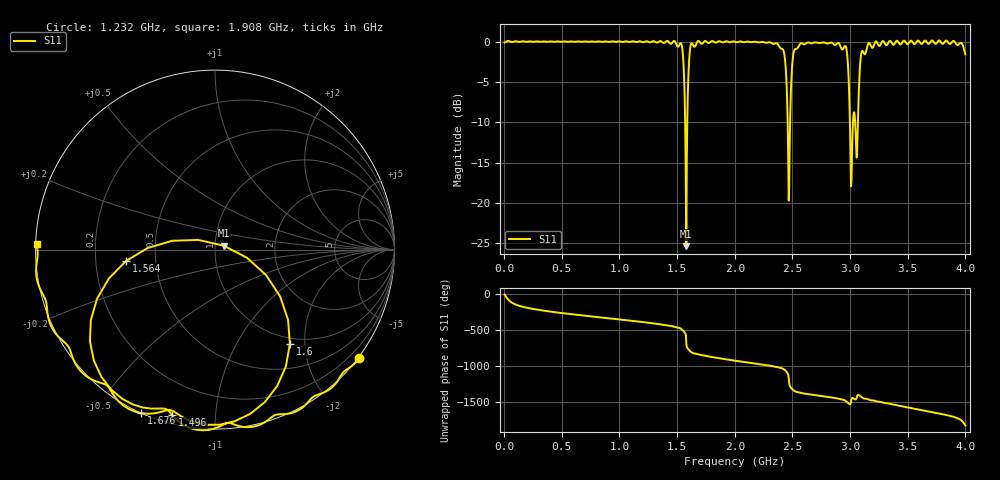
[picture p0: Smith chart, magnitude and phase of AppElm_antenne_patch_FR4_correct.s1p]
! TOUCHSTONE file generated by CST MICROWAVE STUDIO
! Date and time: Tue Jun 14 11:12:00 2022
! Project name: AppElm_antenne_patch_FR4.cst
! Parameters = {L=45; W=58.5; e=0.035; h=1.6; lambda=0.190476; ls=120; w0=2.54; w1=0.847; ws=120; y0=18; y1=23.8}
! Header version: 2018
! Port assignment regex: !\s*Touchstone port\s*([0-9]+)\s*=\s*(CST MWS port|CST DS port)\s*([0-9]+|Zmin|Zmax)\s*\(\"(.*)\"\)(\s*mode\s*([0-9]+))?.*
! Touchstone port assignment:
! Touchstone port 1 = CST MWS port 1 ("")
# GHz S MA R 50
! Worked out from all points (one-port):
!   1000 points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, 4 MHz to 4 GHz, reference 50 ohm
!   lowest |S11| = -25.4 dB at 1.58 GHz (marker M1), VSWR 1.11, Z = 55.1 + j2.38 ohm
!   |S11| at or under -10 dB: 2.459 GHz to 2.48 GHz (21.23 MHz wide, 0.86 % of centre); 2.998 GHz to 3.025 GHz (26.92 MHz wide, 0.894 % of centre); 3.044 GHz to 3.068 GHz (23.74 MHz wide, 0.777 % of centre)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
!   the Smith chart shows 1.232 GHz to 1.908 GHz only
!   S11 on the Smith chart (normalised r, x): 1.232 GHz: -0.03, -3.00; 1.496 GHz: 0.04, -0.77; 1.564 GHz: 0.33, -0.06; 1.6 GHz: 0.89, -1.71; 1.676 GHz: 0.00, -0.65; 1.908 GHz: 0.00, +0.01
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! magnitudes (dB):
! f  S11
! 4 MHz  -0.1
! 504 MHz  0.0
! 1.004 GHz  0.0
! 1.232 GHz  0.0
! 1.496 GHz  -0.4
! 1.504 GHz  -0.6
! 1.544 GHz  -0.8
! 1.564 GHz  -6.0
! 1.58 GHz  -25.4
! 1.6 GHz  -3.5
! 1.62 GHz  -0.3
! 1.676 GHz  0.0
! 1.908 GHz  -0.1
! 2.004 GHz  0.0
! 2.408 GHz  -0.9
! 2.432 GHz  -1.8
! 2.468 GHz  -19.7
! 2.484 GHz  -7.4
! 2.504 GHz  -2.0
! 2.576 GHz  -0.2
! 2.952 GHz  -0.6
! 2.976 GHz  -1.8
! 3.004 GHz  -14.6
! 3.056 GHz  -14.4
! 3.092 GHz  -2.0
! 3.112 GHz  -1.2
! 3.504 GHz  -0.3
! 4 GHz  -1.6
